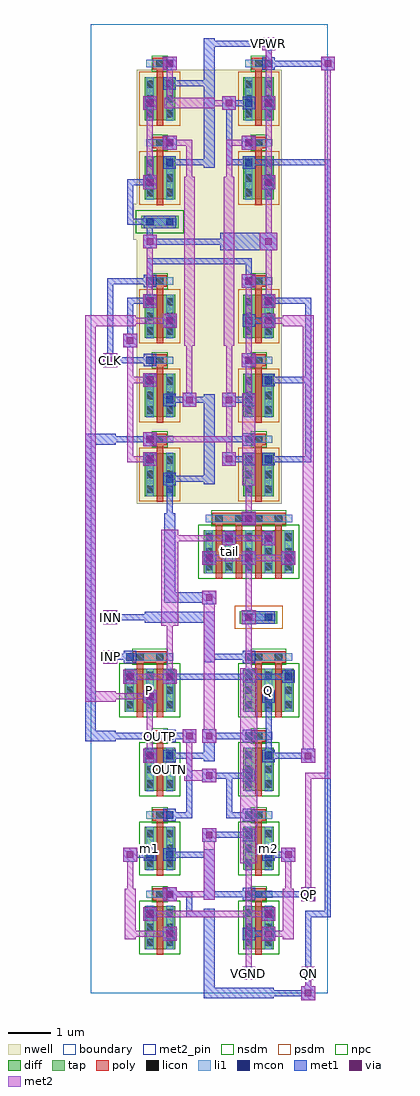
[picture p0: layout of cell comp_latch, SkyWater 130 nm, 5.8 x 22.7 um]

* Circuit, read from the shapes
.subckt comp_latch CLK INN INP OUTN OUTP P Q QN QP VGND VPWR m1 m2 tail
XM1 P INP tail VGND sky130_fd_pr__nfet_01v8 w=1 l=0.15 m=2
XM2 m1 QN VGND VGND sky130_fd_pr__nfet_01v8 w=1 l=0.15
XM3 QP OUTN m1 VGND sky130_fd_pr__nfet_01v8 w=1 l=0.15
XM4 OUTN OUTP P VGND sky130_fd_pr__nfet_01v8 w=1 l=0.15
XM5 tail CLK VGND VGND sky130_fd_pr__nfet_01v8 w=1 l=0.15 m=4
XM6 VGND QP m2 VGND sky130_fd_pr__nfet_01v8 w=1 l=0.15
XM7 m2 OUTP QN VGND sky130_fd_pr__nfet_01v8 w=1 l=0.15
XM8 Q OUTN OUTP VGND sky130_fd_pr__nfet_01v8 w=1 l=0.15
XM9 Q INN tail VGND sky130_fd_pr__nfet_01v8 w=1 l=0.15 m=2
XM10 OUTN OUTP VPWR VPWR sky130_fd_pr__pfet_01v8 w=1 l=0.15
XM11 OUTN CLK VPWR VPWR sky130_fd_pr__pfet_01v8 w=1 l=0.15
XM12 P CLK VPWR VPWR sky130_fd_pr__pfet_01v8 w=1 l=0.15
XM13 QP OUTN VPWR VPWR sky130_fd_pr__pfet_01v8 w=1 l=0.15
XM14 QP QN VPWR VPWR sky130_fd_pr__pfet_01v8 w=1 l=0.15
XM15 VPWR OUTN OUTP VPWR sky130_fd_pr__pfet_01v8 w=1 l=0.15
XM16 VPWR CLK OUTP VPWR sky130_fd_pr__pfet_01v8 w=1 l=0.15
XM17 VPWR CLK Q VPWR sky130_fd_pr__pfet_01v8 w=1 l=0.15
XM18 VPWR OUTP QN VPWR sky130_fd_pr__pfet_01v8 w=1 l=0.15
XM19 VPWR QP QN VPWR sky130_fd_pr__pfet_01v8 w=1 l=0.15
.ends

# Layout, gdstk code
import gdstk
lib = gdstk.Library(unit=1e-6, precision=1e-09)
def R(c, l, rs):  # rectangles x0, y0, x1, y1
    for r in rs: c.add(gdstk.rectangle(r[:2], r[2:], *l))
def A(c, l, x, y, w, h, nx, ny, dx, dy):  # array of equal rectangles
    R(c, l, [(x+i*dx, y+j*dy, x+i*dx+w, y+j*dy+h) for i in range(nx) for j in range(ny)])
nwell = (64, 20)
diff = (65, 20)
tap = (65, 44)
poly = (66, 20)
licon = (66, 44)
li1 = (67, 20)
mcon = (67, 44)
met1 = (68, 20)
via = (68, 44)
met2_pin = (69, 16)
met2 = (69, 20)
nsdm = (93, 44)
psdm = (94, 20)
npc = (95, 20)
boundary = (235, 4)

comp_latch = lib.new_cell('comp_latch')
R(comp_latch, nwell, [(1.075,11.38,4.445,17.52), (0.995,17.52,4.445,18.36), (1.075,18.36,4.445,21.48)])
A(comp_latch, diff, 1.255, 1.025, 0.71, 1, 1, 3, 0, 1.84)
A(comp_latch, diff, 3.555, 1.025, 0.71, 1, 1, 3, 0, 1.84)
A(comp_latch, diff, 1.255, 11.56, 0.71, 1, 1, 3, 0, 1.84)
A(comp_latch, diff, 3.555, 11.56, 0.71, 1, 1, 3, 0, 1.84)
R(comp_latch, diff, [(0.795,6.545,1.965,7.545), (3.555,6.545,4.725,7.545), (2.635,9.765,4.725,10.765), (1.255,18.46,1.965,19.46), (3.555,18.46,4.265,19.46), (1.255,20.3,1.965,21.3), (3.555,20.3,4.265,21.3)])
R(comp_latch, tap, [(3.475,8.595,4.345,8.885), (1.175,17.795,2.045,18.085)])
A(comp_latch, poly, 1.535, 0.895, 0.15, 1.405, 1, 4, 0, 1.84)
A(comp_latch, poly, 3.835, 0.895, 0.15, 1.405, 1, 4, 0, 1.84)
A(comp_latch, poly, 1.445, 2.165, 0.33, 0.27, 1, 3, 0, 1.84)
A(comp_latch, poly, 3.745, 2.165, 0.33, 0.27, 1, 3, 0, 1.84)
A(comp_latch, poly, 2.915, 9.635, 0.15, 1.405, 4, 1, 0.46, 0)
A(comp_latch, poly, 1.535, 11.43, 0.15, 1.45, 1, 3, 0, 1.84)
A(comp_latch, poly, 3.835, 11.43, 0.15, 1.45, 1, 3, 0, 1.84)
A(comp_latch, poly, 1.445, 12.745, 0.33, 0.27, 1, 3, 0, 1.84)
A(comp_latch, poly, 3.745, 12.745, 0.33, 0.27, 1, 3, 0, 1.84)
R(comp_latch, poly, [(1.075,6.415,1.225,7.82), (4.295,6.415,4.445,7.82), (0.985,7.685,1.775,7.955), (3.745,7.685,4.535,7.955), (2.825,10.905,4.535,11.175), (1.535,18.33,1.685,19.78), (3.835,18.33,3.985,19.78), (1.445,19.645,1.775,19.915), (3.745,19.645,4.075,19.915), (1.535,20.17,1.685,21.62), (3.835,20.17,3.985,21.62), (1.445,21.485,1.775,21.755), (3.745,21.485,4.075,21.755)])
A(comp_latch, licon, 1.295, 1.1, 0.17, 0.17, 1, 3, 0, 0.34)
A(comp_latch, licon, 1.755, 1.1, 0.17, 0.17, 1, 3, 0, 0.34)
A(comp_latch, licon, 3.595, 1.1, 0.17, 0.17, 1, 3, 0, 0.34)
A(comp_latch, licon, 4.055, 1.1, 0.17, 0.17, 1, 3, 0, 0.34)
A(comp_latch, licon, 1.525, 2.215, 0.17, 0.17, 1, 4, 0, 1.84)
A(comp_latch, licon, 3.825, 2.215, 0.17, 0.17, 1, 4, 0, 1.84)
A(comp_latch, licon, 1.295, 2.94, 0.17, 0.17, 1, 3, 0, 0.34)
A(comp_latch, licon, 1.755, 2.94, 0.17, 0.17, 1, 3, 0, 0.34)
A(comp_latch, licon, 3.595, 2.94, 0.17, 0.17, 1, 3, 0, 0.34)
A(comp_latch, licon, 4.055, 2.94, 0.17, 0.17, 1, 3, 0, 0.34)
A(comp_latch, licon, 1.295, 4.78, 0.17, 0.17, 1, 3, 0, 0.34)
A(comp_latch, licon, 1.755, 4.78, 0.17, 0.17, 1, 3, 0, 0.34)
A(comp_latch, licon, 3.595, 4.78, 0.17, 0.17, 1, 3, 0, 0.34)
A(comp_latch, licon, 4.055, 4.78, 0.17, 0.17, 1, 3, 0, 0.34)
A(comp_latch, licon, 0.835, 6.62, 0.17, 0.17, 3, 3, 0.46, 0.34)
A(comp_latch, licon, 3.595, 6.62, 0.17, 0.17, 3, 3, 0.46, 0.34)
A(comp_latch, licon, 2.675, 9.84, 0.17, 0.17, 5, 3, 0.46, 0.34)
A(comp_latch, licon, 2.905, 10.955, 0.17, 0.17, 4, 1, 0.46, 0)
A(comp_latch, licon, 1.295, 11.635, 0.17, 0.17, 1, 3, 0, 0.34)
A(comp_latch, licon, 1.755, 11.635, 0.17, 0.17, 1, 3, 0, 0.34)
A(comp_latch, licon, 3.595, 11.635, 0.17, 0.17, 1, 3, 0, 0.34)
A(comp_latch, licon, 4.055, 11.635, 0.17, 0.17, 1, 3, 0, 0.34)
A(comp_latch, licon, 1.525, 12.795, 0.17, 0.17, 1, 3, 0, 1.84)
A(comp_latch, licon, 3.825, 12.795, 0.17, 0.17, 1, 3, 0, 1.84)
A(comp_latch, licon, 1.295, 13.475, 0.17, 0.17, 1, 3, 0, 0.34)
A(comp_latch, licon, 1.755, 13.475, 0.17, 0.17, 1, 3, 0, 0.34)
A(comp_latch, licon, 3.595, 13.475, 0.17, 0.17, 1, 3, 0, 0.34)
A(comp_latch, licon, 4.055, 13.475, 0.17, 0.17, 1, 3, 0, 0.34)
A(comp_latch, licon, 1.295, 15.315, 0.17, 0.17, 1, 3, 0, 0.34)
A(comp_latch, licon, 1.755, 15.315, 0.17, 0.17, 1, 3, 0, 0.34)
A(comp_latch, licon, 3.595, 15.315, 0.17, 0.17, 1, 3, 0, 0.34)
A(comp_latch, licon, 4.055, 15.315, 0.17, 0.17, 1, 3, 0, 0.34)
A(comp_latch, licon, 1.295, 18.535, 0.17, 0.17, 1, 3, 0, 0.34)
A(comp_latch, licon, 1.755, 18.535, 0.17, 0.17, 1, 3, 0, 0.34)
A(comp_latch, licon, 3.595, 18.535, 0.17, 0.17, 1, 3, 0, 0.34)
A(comp_latch, licon, 4.055, 18.535, 0.17, 0.17, 1, 3, 0, 0.34)
A(comp_latch, licon, 1.295, 20.375, 0.17, 0.17, 1, 3, 0, 0.34)
A(comp_latch, licon, 1.755, 20.375, 0.17, 0.17, 1, 3, 0, 0.34)
A(comp_latch, licon, 3.595, 20.375, 0.17, 0.17, 1, 3, 0, 0.34)
A(comp_latch, licon, 4.055, 20.375, 0.17, 0.17, 1, 3, 0, 0.34)
R(comp_latch, licon, [(1.065,7.735,1.235,7.905), (4.285,7.735,4.455,7.905), (3.595,8.655,3.765,8.825), (4.055,8.655,4.225,8.825), (1.295,17.855,1.465,18.025), (1.755,17.855,1.925,18.025), (1.525,19.695,1.695,19.865), (3.825,19.695,3.995,19.865), (1.525,21.535,1.695,21.705), (3.825,21.535,3.995,21.705)])
A(comp_latch, li1, 1.295, 1.02, 0.17, 1.01, 1, 3, 0, 1.84)
A(comp_latch, li1, 1.755, 1.02, 0.17, 1.01, 1, 3, 0, 1.84)
A(comp_latch, li1, 3.595, 1.02, 0.17, 1.01, 1, 3, 0, 1.84)
A(comp_latch, li1, 4.055, 1.02, 0.17, 1.01, 1, 3, 0, 1.84)
A(comp_latch, li1, 1.295, 2.215, 0.63, 0.17, 1, 3, 0, 1.84)
A(comp_latch, li1, 3.595, 2.215, 0.63, 0.17, 1, 3, 0, 1.84)
A(comp_latch, li1, 0.835, 6.54, 0.17, 1.01, 3, 1, 0.46, 0)
A(comp_latch, li1, 3.595, 6.54, 0.17, 1.01, 3, 1, 0.46, 0)
A(comp_latch, li1, 2.675, 9.76, 0.17, 1.01, 5, 1, 0.46, 0)
A(comp_latch, li1, 1.295, 11.555, 0.17, 1.01, 1, 3, 0, 1.84)
A(comp_latch, li1, 1.755, 11.555, 0.17, 1.01, 1, 3, 0, 1.84)
A(comp_latch, li1, 3.595, 11.555, 0.17, 1.01, 1, 3, 0, 1.84)
A(comp_latch, li1, 4.055, 11.555, 0.17, 1.01, 1, 3, 0, 1.84)
A(comp_latch, li1, 1.295, 12.795, 0.63, 0.17, 1, 3, 0, 1.84)
A(comp_latch, li1, 3.595, 12.795, 0.63, 0.17, 1, 3, 0, 1.84)
R(comp_latch, li1, [(0.835,7.735,1.925,7.905), (3.595,7.735,4.685,7.905), (3.515,8.655,4.305,8.825), (2.675,10.955,4.685,11.125), (1.215,17.855,2.005,18.025), (1.295,18.455,1.465,19.465), (1.755,18.455,1.925,19.465), (3.595,18.455,3.765,19.465), (4.055,18.455,4.225,19.465), (1.295,19.695,1.925,19.865), (3.595,19.695,4.225,19.865), (1.295,20.295,1.465,21.305), (1.755,20.295,1.925,21.305), (3.595,20.295,3.765,21.305), (4.055,20.295,4.225,21.305), (1.295,21.535,1.925,21.705), (3.595,21.535,4.225,21.705)])
A(comp_latch, mcon, 1.755, 1.295, 0.17, 0.17, 1, 4, 0, 0.92)
A(comp_latch, mcon, 3.595, 4.055, 0.17, 0.17, 1, 3, 0, 0.92)
A(comp_latch, mcon, 4.055, 6.815, 0.17, 0.17, 1, 6, 0, 1.84)
A(comp_latch, mcon, 2.675, 10.035, 0.17, 0.17, 3, 1, 0.92, 0)
A(comp_latch, mcon, 1.755, 11.875, 0.17, 0.17, 1, 3, 0, 1.84)
A(comp_latch, mcon, 3.595, 12.795, 0.17, 0.17, 1, 5, 0, 0.92)
R(comp_latch, mcon, [(3.595,1.295,3.765,1.465), (1.295,1.755,1.465,1.925), (4.055,1.755,4.225,1.925), (3.595,2.215,3.765,2.385), (1.295,3.135,1.465,3.305), (4.055,3.135,4.225,3.305), (3.595,3.595,3.765,3.765), (1.295,5.435,1.465,5.605), (1.755,5.435,1.925,5.605), (4.055,5.435,4.225,5.605), (1.755,5.895,1.925,6.065), (1.295,6.815,1.465,6.985), (0.835,7.275,1.005,7.445), (1.755,7.275,1.925,7.445), (3.595,7.275,3.765,7.445), (4.515,7.275,4.685,7.445), (0.835,7.735,1.005,7.905), (3.595,7.735,3.765,7.905), (3.595,8.655,3.765,8.825), (3.135,10.495,3.305,10.665), (3.595,10.955,3.765,11.125), (1.295,12.335,1.465,12.505), (3.595,12.335,3.765,12.505), (1.295,12.795,1.465,12.965), (1.295,14.175,1.465,14.345), (1.295,14.635,1.465,14.805), (1.295,16.015,1.465,16.185), (1.295,16.475,1.465,16.645), (1.295,17.855,1.465,18.025), (1.755,17.855,1.925,18.025), (1.295,18.775,1.465,18.945), (4.055,18.775,4.225,18.945), (1.755,19.235,1.925,19.405), (3.595,19.235,3.765,19.405), (1.755,19.695,1.925,19.865), (3.595,19.695,3.765,19.865), (1.295,20.615,1.465,20.785), (3.595,20.615,3.765,20.785), (4.055,20.615,4.225,20.785), (1.755,21.075,1.925,21.245), (1.755,21.535,1.925,21.705), (4.055,21.535,4.225,21.705)])
A(comp_latch, met1, 1.695, 1.235, 0.29, 0.29, 1, 4, 0, 0.92)
A(comp_latch, met1, 1.77, 2.23, 0.6, 0.14, 1, 3, 0, 1.84)
A(comp_latch, met1, 2.69, 2.23, 1.06, 0.14, 1, 3, 0, 1.38)
A(comp_latch, met1, 3.535, 3.995, 0.29, 0.29, 1, 3, 0, 0.92)
A(comp_latch, met1, 2.6, 9.96, 0.32, 0.32, 3, 1, 0.92, 0)
A(comp_latch, met1, 2.615, 9.975, 0.29, 0.29, 3, 1, 0.92, 0)
A(comp_latch, met1, 3.995, 10.435, 0.29, 0.29, 1, 4, 0, 1.84)
A(comp_latch, met1, 1.695, 11.815, 0.29, 0.29, 1, 3, 0, 1.84)
A(comp_latch, met1, 4.07, 12.35, 1.06, 0.14, 1, 3, 0, 1.84)
A(comp_latch, met1, 3.535, 12.735, 0.29, 0.29, 1, 5, 0, 0.92)
A(comp_latch, met1, 0.39, 12.81, 1.06, 0.14, 1, 3, 0, 1.84)
A(comp_latch, met1, 1.22, 15.94, 0.32, 0.32, 1, 3, 0, 1.38)
R(comp_latch, met1, [(4.9,-0.16,5.22,0.16), (2.635,-0.125,4.265,0.125), (2.635,-0.125,2.885,1.965), (4.07,-0.07,5.13,0.07), (4.99,-0.07,5.13,1.91), (1.68,1.22,2,1.54), (3.98,1.22,4.3,1.54), (3.535,1.235,3.825,1.525), (3.61,1.31,4.21,1.45), (1.22,1.68,1.54,2), (3.98,1.68,4.3,2), (1.235,1.695,1.525,1.985), (3.995,1.695,4.285,1.985), (2.23,1.77,2.83,1.91), (2.23,1.77,2.37,2.37), (4.99,1.77,5.59,1.91), (5.45,1.77,5.59,19.39), (1.68,2.14,2,2.46), (4.9,2.14,5.22,2.46), (3.535,2.155,3.825,2.445), (2.635,2.175,2.885,3.345), (3.61,2.23,5.13,2.37), (0.76,3.06,1.08,3.38), (4.44,3.06,4.76,3.38), (1.235,3.075,1.525,3.365), (3.995,3.075,4.285,3.365), (0.85,3.15,1.45,3.29), (1.77,3.15,2.83,3.29), (4.07,3.15,4.67,3.29), (2.6,3.52,2.92,3.84), (3.535,3.535,3.825,3.825), (2.23,4.07,2.37,5.59), (3.15,4.07,3.29,5.13), (3.15,4.07,3.75,4.21), (2.6,4.9,2.92,5.22), (1.22,5.36,1.54,5.68), (4.9,5.36,5.22,5.68), (1.235,5.375,1.525,5.665), (1.695,5.375,1.985,5.665), (3.995,5.375,4.285,5.665), (2.635,5.395,2.885,6.105), (1.77,5.45,2.83,5.59), (4.07,5.45,5.13,5.59), (4.07,5.45,4.21,6.97), (2.14,5.82,2.46,6.14), (2.6,5.82,2.92,6.14), (1.695,5.835,1.985,6.125), (-0.125,5.855,0.125,13.005), (-0.125,5.855,0.585,6.105), (0.39,5.91,1.91,6.05), (2.69,5.91,3.75,6.05), (1.22,6.74,1.54,7.06), (1.235,6.755,1.525,7.045), (3.995,6.755,4.285,7.045), (0.76,7.2,1.08,7.52), (1.68,7.2,2,7.52), (0.775,7.215,1.065,7.505), (1.695,7.215,1.985,7.505), (3.535,7.215,3.825,7.505), (4.455,7.215,4.745,7.505), (1.77,7.29,3.75,7.43), (3.61,7.29,4.67,7.43), (0.3,7.66,0.62,7.98), (0.775,7.675,1.065,7.965), (3.535,7.675,3.825,7.965), (2.635,7.695,2.885,8.865), (0.39,7.75,0.99,7.89), (2.69,7.75,3.75,7.89), (0.3,8.58,0.62,8.9), (3.52,8.58,3.84,8.9), (3.535,8.595,4.285,8.885), (1.255,8.615,2.885,8.865), (0.39,8.67,1.45,8.81), (3.61,8.67,3.75,8.81), (2.6,9.04,2.92,9.36), (1.715,9.075,2.885,9.325), (1.715,9.075,1.965,11.165), (3.06,10.42,3.38,10.74), (3.98,10.42,4.3,10.74), (3.075,10.435,3.365,10.725), (3.52,10.88,3.84,11.2), (3.535,10.895,3.825,11.185), (1.77,10.97,1.91,12.03), (2.635,11.835,2.885,13.005), (1.77,11.89,2.83,12.03), (1.22,12.26,1.54,12.58), (3.06,12.26,3.38,12.58), (1.235,12.275,1.525,12.565), (3.535,12.275,3.825,12.565), (3.15,12.35,3.75,12.49), (4.99,12.35,5.13,14.33), (1.22,12.72,1.54,13.04), (1.235,12.735,1.525,13.025), (-0.125,12.755,0.585,13.005), (2.635,12.755,2.885,13.925), (2.69,12.81,3.75,12.95), (2.14,13.64,2.46,13.96), (3.06,13.64,3.38,13.96), (1.77,13.73,2.83,13.87), (3.15,13.73,3.75,13.87), (1.22,14.1,1.54,14.42), (1.235,14.115,1.525,14.405), (4.99,14.19,5.13,16.17), (0.3,14.56,0.62,14.88), (3.52,14.56,3.84,14.88), (1.235,14.575,1.525,14.865), (0.39,14.65,0.53,16.63), (0.76,15.02,1.08,15.34), (0.85,15.11,0.99,16.17), (1.68,15.48,2,15.8), (3.98,15.48,4.3,15.8), (3.61,15.57,4.21,15.71), (3.98,15.94,4.3,16.26), (1.235,15.955,1.525,16.245), (0.85,16.03,1.45,16.17), (3.52,16.4,3.84,16.72), (1.235,16.415,1.525,16.705), (1.31,16.49,1.45,17.09), (3.61,16.49,3.75,17.09), (1.31,16.95,3.75,17.09), (3.02,17.28,4.34,17.68), (3.94,17.28,4.34,17.68), (1.31,17.41,3.29,17.55), (1.31,17.41,1.45,18.01), (1.235,17.795,1.985,18.085), (0.85,17.87,0.99,18.93), (0.85,17.87,1.45,18.01), (1.31,17.87,1.45,18.01), (3.98,18.7,4.3,19.02), (1.235,18.715,1.525,19.005), (3.995,18.715,4.285,19.005), (0.85,18.79,1.45,18.93), (1.695,19.175,1.985,19.465), (3.535,19.175,3.825,19.465), (2.635,19.195,2.885,21.285), (1.77,19.25,2.83,19.39), (3.15,19.25,3.75,19.39), (3.15,19.25,3.29,20.77), (3.61,19.25,5.59,19.39), (1.68,19.62,2,19.94), (3.52,19.62,3.84,19.94), (1.695,19.635,1.985,19.925), (3.535,19.635,3.825,19.925), (1.22,20.54,1.54,20.86), (3.06,20.54,3.38,20.86), (3.98,20.54,4.3,20.86), (1.235,20.555,1.525,20.845), (3.535,20.555,3.825,20.845), (3.995,20.555,4.285,20.845), (3.15,20.63,3.75,20.77), (1.695,21.015,1.985,21.305), (2.635,21.035,2.885,22.205), (1.77,21.09,2.83,21.23), (1.68,21.46,2,21.78), (5.36,21.46,5.68,21.78), (1.695,21.475,1.985,21.765), (3.995,21.475,4.285,21.765), (4.07,21.55,5.59,21.69), (4.07,21.55,4.21,22.15), (2.69,22.01,4.21,22.15)])
A(comp_latch, via, 2.685, 10.045, 0.15, 0.15, 3, 1, 0.92, 0)
A(comp_latch, via, 1.305, 16.025, 0.15, 0.15, 1, 3, 0, 1.38)
A(comp_latch, via, 4.065, 16.025, 0.15, 0.15, 1, 3, 0, 1.38)
R(comp_latch, via, [(4.985,-0.075,5.135,0.075), (1.765,1.305,1.915,1.455), (4.065,1.305,4.215,1.455), (1.305,1.765,1.455,1.915), (4.065,1.765,4.215,1.915), (1.765,2.225,1.915,2.375), (4.985,2.225,5.135,2.375), (0.845,3.145,0.995,3.295), (4.525,3.145,4.675,3.295), (2.685,3.605,2.835,3.755), (2.685,4.985,2.835,5.135), (1.305,5.445,1.455,5.595), (4.985,5.445,5.135,5.595), (2.225,5.905,2.375,6.055), (2.685,5.905,2.835,6.055), (1.305,6.825,1.455,6.975), (0.845,7.285,0.995,7.435), (1.765,7.285,1.915,7.435), (0.385,7.745,0.535,7.895), (0.385,8.665,0.535,8.815), (3.605,8.665,3.755,8.815), (2.685,9.125,2.835,9.275), (3.145,10.505,3.295,10.655), (4.065,10.505,4.215,10.655), (3.605,10.965,3.755,11.115), (1.305,12.345,1.455,12.495), (3.145,12.345,3.295,12.495), (1.305,12.805,1.455,12.955), (2.225,13.725,2.375,13.875), (3.145,13.725,3.295,13.875), (1.305,14.185,1.455,14.335), (0.385,14.645,0.535,14.795), (3.605,14.645,3.755,14.795), (0.845,15.105,0.995,15.255), (1.765,15.565,1.915,15.715), (4.065,15.565,4.215,15.715), (3.605,16.485,3.755,16.635), (1.765,19.705,1.915,19.855), (3.605,19.705,3.755,19.855), (1.305,20.625,1.455,20.775), (3.145,20.625,3.295,20.775), (4.065,20.625,4.215,20.775), (1.765,21.545,1.915,21.695), (5.445,21.545,5.595,21.695)])
R(comp_latch, met2_pin, [(3.53,0.31,3.83,0.61), (4.91,0.31,5.21,0.61), (4.91,2.15,5.21,2.45), (0.31,7.67,0.61,7.97), (0.31,8.59,0.61,8.89), (0.31,14.57,0.61,14.87), (3.99,21.93,4.29,22.23)])
A(comp_latch, met2, 2.6, 9.96, 0.32, 0.32, 3, 1, 0.92, 0)
A(comp_latch, met2, 1.22, 15.94, 0.32, 0.32, 1, 3, 0, 1.38)
R(comp_latch, met2, [(4.9,-0.16,5.22,0.16), (4.99,-0.07,5.13,0.53), (3.53,0.31,3.83,0.61), (4.91,0.31,5.21,0.61), (3.61,0.39,3.75,3.29), (3.61,0.39,3.75,0.53), (4.99,0.39,5.13,0.53), (1.68,1.22,2,1.54), (3.98,1.22,4.3,1.54), (0.795,1.255,1.045,2.425), (4.475,1.255,4.725,2.425), (0.85,1.31,1.91,1.45), (4.07,1.31,4.67,1.45), (1.22,1.68,1.54,2), (3.98,1.68,4.3,2), (1.31,1.77,3.75,1.91), (3.61,1.77,4.21,1.91), (1.68,2.14,2,2.46), (4.9,2.14,5.22,2.46), (4.91,2.15,5.21,2.45), (2.635,2.175,2.885,3.805), (0.85,2.23,0.99,3.29), (1.77,2.23,2.83,2.37), (4.53,2.23,4.67,3.29), (4.99,2.23,5.13,5.13), (4.99,2.23,5.13,2.37), (3.48,3.02,3.88,7.56), (0.76,3.06,1.08,3.38), (4.44,3.06,4.76,3.38), (2.6,3.52,2.92,3.84), (2.6,4.9,2.92,5.22), (2.175,4.935,2.885,5.185), (2.23,4.99,2.37,6.05), (4.99,4.99,5.59,5.13), (5.45,4.99,5.59,21.69), (1.22,5.36,1.54,5.68), (4.9,5.36,5.22,5.68), (4.935,5.395,5.185,15.765), (1.31,5.45,1.45,6.97), (2.14,5.82,2.46,6.14), (2.6,5.82,2.92,6.14), (2.635,5.855,2.885,9.325), (1.22,6.74,1.54,7.06), (-0.125,6.775,0.125,15.765), (-0.125,6.775,0.585,7.025), (0.39,6.83,1.45,6.97), (0.76,7.2,1.08,7.52), (1.68,7.2,2,7.52), (0.85,7.29,1.91,7.43), (1.77,7.29,1.91,8.81), (3.61,7.29,3.75,8.81), (0.3,7.66,0.62,7.98), (0.31,7.67,0.61,7.97), (0.39,7.75,0.53,7.89), (1.64,8.54,2.04,10.78), (0.3,8.58,0.62,8.9), (3.52,8.58,3.84,8.9), (0.31,8.59,0.61,8.89), (0.39,8.67,0.53,8.81), (3.61,8.67,3.75,10.19), (2.6,9.04,2.92,9.36), (2.69,10.05,3.75,10.19), (3.61,10.05,4.67,10.19), (3.06,10.42,3.38,10.74), (3.98,10.42,4.3,10.74), (1.77,10.51,3.29,10.65), (3.15,10.51,4.21,10.65), (3.52,10.88,3.84,11.2), (3.61,10.97,3.75,12.03), (3.53,11.81,3.83,13.95), (1.22,12.26,1.54,12.58), (3.06,12.26,3.38,12.58), (0.85,12.35,1.45,12.49), (0.85,12.35,0.99,14.33), (3.15,12.35,3.29,12.95), (1.22,12.72,1.54,13.04), (1.31,12.81,3.29,12.95), (3.15,12.81,3.29,13.87), (2.14,13.64,2.46,13.96), (3.06,13.64,3.38,13.96), (2.23,13.73,2.37,15.25), (3.15,13.73,3.29,15.25), (3.61,13.73,3.75,14.79), (1.22,14.1,1.54,14.42), (0.85,14.19,0.99,15.25), (0.85,14.19,1.45,14.33), (0.3,14.56,0.62,14.88), (3.52,14.56,3.84,14.88), (0.31,14.57,0.61,14.87), (0.39,14.65,0.53,14.79), (3.61,14.65,3.75,16.63), (0.76,15.02,1.08,15.34), (2.175,15.055,2.425,18.985), (3.095,15.055,3.345,18.985), (1.68,15.48,2,15.8), (3.98,15.48,4.3,15.8), (-0.125,15.515,1.045,15.765), (4.475,15.515,5.185,15.765), (0.85,15.57,1.91,15.71), (4.07,15.57,4.67,15.71), (3.98,15.94,4.3,16.26), (1.31,16.03,1.45,17.55), (4.07,16.03,4.21,18.93), (3.52,16.4,3.84,16.72), (3.94,17.28,4.34,17.68), (3.98,18.7,4.3,19.02), (1.31,18.79,1.45,20.77), (2.23,18.79,2.37,19.85), (3.15,18.79,3.29,19.85), (4.07,18.79,4.21,20.77), (1.68,19.62,2,19.94), (3.52,19.62,3.84,19.94), (1.77,19.71,2.37,19.85), (3.15,19.71,3.75,19.85), (1.22,20.54,1.54,20.86), (3.06,20.54,3.38,20.86), (3.98,20.54,4.3,20.86), (1.715,20.575,2.885,20.825), (1.77,20.63,1.91,21.69), (2.69,20.63,3.29,20.77), (4.07,20.63,4.21,22.15), (1.68,21.46,2,21.78), (5.36,21.46,5.68,21.78), (3.99,21.93,4.29,22.23), (4.07,22.01,4.21,22.15)])
A(comp_latch, nsdm, 1.13, 0.9, 0.96, 1.25, 1, 3, 0, 1.84)
A(comp_latch, nsdm, 3.43, 0.9, 0.96, 1.25, 1, 3, 0, 1.84)
R(comp_latch, nsdm, [(0.67,6.42,2.09,7.67), (3.43,6.42,4.85,7.67), (2.51,9.64,4.85,10.89), (1.05,17.67,2.17,18.21)])
A(comp_latch, psdm, 1.13, 11.435, 0.96, 1.25, 1, 3, 0, 1.84)
A(comp_latch, psdm, 3.43, 11.435, 0.96, 1.25, 1, 3, 0, 1.84)
R(comp_latch, psdm, [(3.35,8.47,4.47,9.01), (1.13,18.335,2.09,19.585), (3.43,18.335,4.39,19.585), (1.13,20.175,2.09,21.425), (3.43,20.175,4.39,21.425)])
A(comp_latch, npc, 1.425, 2.115, 0.37, 0.37, 1, 3, 0, 1.84)
A(comp_latch, npc, 3.725, 2.115, 0.37, 0.37, 1, 3, 0, 1.84)
A(comp_latch, npc, 1.425, 12.695, 0.37, 0.37, 1, 3, 0, 1.84)
A(comp_latch, npc, 3.725, 12.695, 0.37, 0.37, 1, 3, 0, 1.84)
R(comp_latch, npc, [(0.965,7.635,1.795,8.005), (3.725,7.635,4.555,8.005), (2.805,10.855,4.555,11.225), (1.425,19.595,1.795,19.965), (3.725,19.595,4.095,19.965), (1.425,21.435,1.795,21.805), (3.725,21.435,4.095,21.805)])
R(comp_latch, boundary, [(0,0,5.52,22.54)])
comp_latch.add(gdstk.Label('tail', (3.22,10.265), layer=67, texttype=5))
comp_latch.add(gdstk.Label('P', (1.38,7.045), layer=67, texttype=5))
comp_latch.add(gdstk.Label('Q', (4.14,7.045), layer=67, texttype=5))
comp_latch.add(gdstk.Label('OUTP', (1.61,5.98), layer=67, texttype=5))
comp_latch.add(gdstk.Label('OUTN', (1.84,5.205), layer=67, texttype=5))
comp_latch.add(gdstk.Label('m1', (1.38,3.365), layer=67, texttype=5))
comp_latch.add(gdstk.Label('m2', (4.14,3.365), layer=67, texttype=5))
comp_latch.add(gdstk.Label('CLK', (0.46,14.72), layer=69, texttype=5))
comp_latch.add(gdstk.Label('INP', (0.46,7.82), layer=69, texttype=5))
comp_latch.add(gdstk.Label('INN', (0.46,8.74), layer=69, texttype=5))
comp_latch.add(gdstk.Label('QP', (5.06,2.3), layer=69, texttype=5))
comp_latch.add(gdstk.Label('QN', (5.06,0.46), layer=69, texttype=5))
comp_latch.add(gdstk.Label('VPWR', (4.14,22.08), layer=69, texttype=5))
comp_latch.add(gdstk.Label('VGND', (3.68,0.46), layer=69, texttype=5))
comp_latch.add(gdstk.Label('CLK', (0.46,14.72), layer=69, texttype=16))
comp_latch.add(gdstk.Label('INP', (0.46,7.82), layer=69, texttype=16))
comp_latch.add(gdstk.Label('INN', (0.46,8.74), layer=69, texttype=16))
comp_latch.add(gdstk.Label('QP', (5.06,2.3), layer=69, texttype=16))
comp_latch.add(gdstk.Label('QN', (5.06,0.46), layer=69, texttype=16))
comp_latch.add(gdstk.Label('VPWR', (4.14,22.08), layer=69, texttype=16))
comp_latch.add(gdstk.Label('VGND', (3.68,0.46), layer=69, texttype=16))

lib.write_gds('comp_latch.gds')
